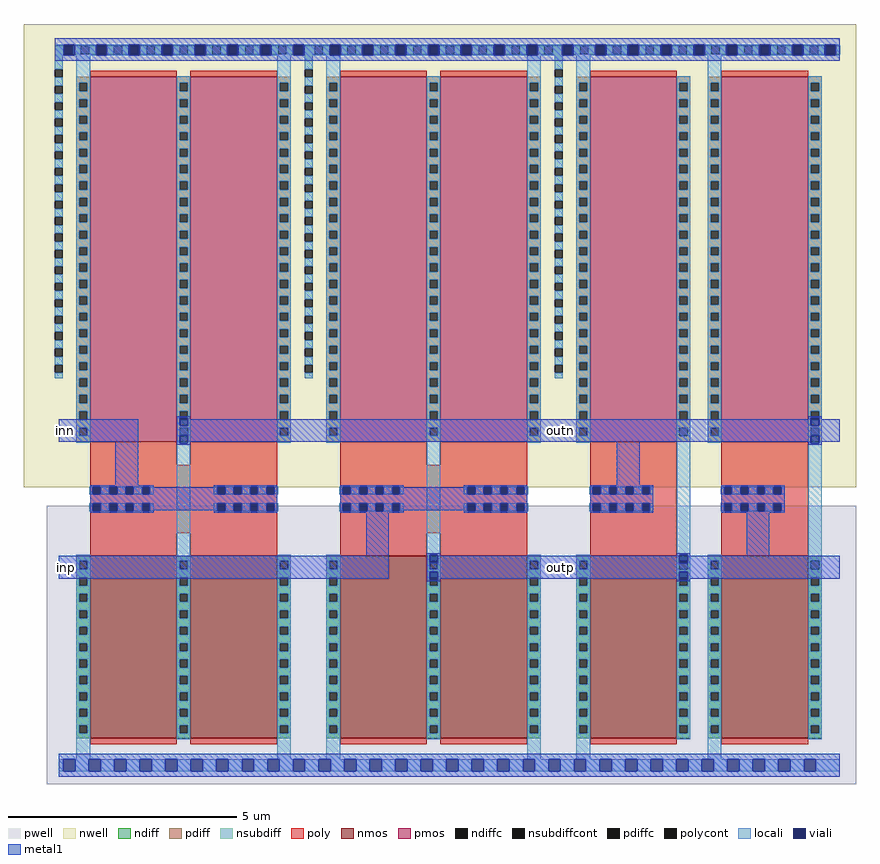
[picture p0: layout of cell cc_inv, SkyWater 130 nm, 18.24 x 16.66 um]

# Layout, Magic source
magic
tech sky130A
<< poly >>
rect 69 636 479 684
rect 69 619 75 636
rect 92 619 111 636
rect 128 619 147 636
rect 164 619 183 636
rect 200 619 348 636
rect 365 619 384 636
rect 401 619 420 636
rect 437 619 456 636
rect 473 619 479 636
rect 69 599 479 619
rect 69 582 75 599
rect 92 582 111 599
rect 128 582 147 599
rect 164 582 183 599
rect 200 582 348 599
rect 365 582 384 599
rect 401 582 420 599
rect 437 582 456 599
rect 473 582 479 599
rect 69 534 479 582
rect 617 636 1027 684
rect 617 619 623 636
rect 640 619 659 636
rect 676 619 695 636
rect 712 619 731 636
rect 748 619 896 636
rect 913 619 932 636
rect 949 619 968 636
rect 985 619 1004 636
rect 1021 619 1027 636
rect 617 599 1027 619
rect 617 582 623 599
rect 640 582 659 599
rect 676 582 695 599
rect 712 582 731 599
rect 748 582 896 599
rect 913 582 932 599
rect 949 582 968 599
rect 985 582 1004 599
rect 1021 582 1027 599
rect 617 534 1027 582
rect 1165 636 1355 686
rect 1165 619 1171 636
rect 1188 619 1207 636
rect 1224 619 1243 636
rect 1260 619 1279 636
rect 1296 619 1355 636
rect 1165 599 1355 619
rect 1165 582 1171 599
rect 1188 582 1207 599
rect 1224 582 1243 599
rect 1260 582 1279 599
rect 1296 582 1355 599
rect 1165 528 1355 582
rect 1453 636 1643 686
rect 1453 619 1459 636
rect 1476 619 1495 636
rect 1512 619 1531 636
rect 1548 619 1567 636
rect 1584 619 1643 636
rect 1453 599 1643 619
rect 1453 582 1459 599
rect 1476 582 1495 599
rect 1512 582 1531 599
rect 1548 582 1567 599
rect 1584 582 1643 599
rect 1453 528 1643 582
<< polycont >>
rect 75 619 92 636
rect 111 619 128 636
rect 147 619 164 636
rect 183 619 200 636
rect 348 619 365 636
rect 384 619 401 636
rect 420 619 437 636
rect 456 619 473 636
rect 75 582 92 599
rect 111 582 128 599
rect 147 582 164 599
rect 183 582 200 599
rect 348 582 365 599
rect 384 582 401 599
rect 420 582 437 599
rect 456 582 473 599
rect 623 619 640 636
rect 659 619 676 636
rect 695 619 712 636
rect 731 619 748 636
rect 896 619 913 636
rect 932 619 949 636
rect 968 619 985 636
rect 1004 619 1021 636
rect 623 582 640 599
rect 659 582 676 599
rect 695 582 712 599
rect 731 582 748 599
rect 896 582 913 599
rect 932 582 949 599
rect 968 582 985 599
rect 1004 582 1021 599
rect 1171 619 1188 636
rect 1207 619 1224 636
rect 1243 619 1260 636
rect 1279 619 1296 636
rect 1171 582 1188 599
rect 1207 582 1224 599
rect 1243 582 1260 599
rect 1279 582 1296 599
rect 1459 619 1476 636
rect 1495 619 1512 636
rect 1531 619 1548 636
rect 1567 619 1584 636
rect 1459 582 1476 599
rect 1495 582 1512 599
rect 1531 582 1548 599
rect 1567 582 1584 599
<< locali >>
rect -9 1581 11 1605
rect 35 1581 82 1605
rect 106 1581 154 1605
rect 178 1581 226 1605
rect 250 1581 298 1605
rect 322 1581 370 1605
rect 394 1581 442 1605
rect 466 1581 514 1605
rect 538 1581 594 1605
rect 618 1581 666 1605
rect 690 1581 738 1605
rect 762 1581 810 1605
rect 834 1581 882 1605
rect 906 1581 954 1605
rect 978 1581 1026 1605
rect 1050 1581 1104 1605
rect 1128 1581 1176 1605
rect 1200 1581 1248 1605
rect 1272 1581 1320 1605
rect 1344 1581 1392 1605
rect 1416 1581 1464 1605
rect 1488 1581 1536 1605
rect 1560 1581 1608 1605
rect 1632 1581 1679 1605
rect 1703 1581 1712 1605
rect 259 749 289 769
rect 259 731 265 749
rect 283 731 289 749
rect 67 619 75 636
rect 92 619 111 636
rect 128 619 147 636
rect 164 619 183 636
rect 200 619 208 636
rect 67 582 75 599
rect 92 582 111 599
rect 128 582 147 599
rect 164 582 183 599
rect 200 582 208 599
rect 259 480 289 731
rect 340 619 348 636
rect 365 619 384 636
rect 401 619 420 636
rect 437 619 456 636
rect 473 619 481 636
rect 615 619 623 636
rect 640 619 659 636
rect 676 619 695 636
rect 712 619 731 636
rect 748 619 756 636
rect 340 582 348 599
rect 365 582 384 599
rect 401 582 420 599
rect 437 582 456 599
rect 473 582 481 599
rect 615 582 623 599
rect 640 582 659 599
rect 676 582 695 599
rect 712 582 731 599
rect 748 582 756 599
rect 807 487 837 733
rect 888 619 896 636
rect 913 619 932 636
rect 949 619 968 636
rect 985 619 1004 636
rect 1021 619 1029 636
rect 1163 619 1171 636
rect 1188 619 1207 636
rect 1224 619 1243 636
rect 1260 619 1279 636
rect 1296 619 1304 636
rect 888 582 896 599
rect 913 582 932 599
rect 949 582 968 599
rect 985 582 1004 599
rect 1021 582 1029 599
rect 1163 582 1171 599
rect 1188 582 1207 599
rect 1224 582 1243 599
rect 1260 582 1279 599
rect 1296 582 1304 599
rect 807 469 813 487
rect 831 469 837 487
rect 1355 486 1385 777
rect 1643 769 1649 786
rect 1667 769 1673 786
rect 1643 749 1673 769
rect 1643 731 1649 749
rect 1667 731 1673 749
rect 1451 619 1459 636
rect 1476 619 1495 636
rect 1512 619 1531 636
rect 1548 619 1567 636
rect 1584 619 1592 636
rect 1451 582 1459 599
rect 1476 582 1495 599
rect 1512 582 1531 599
rect 1548 582 1567 599
rect 1584 582 1592 599
rect 1355 468 1361 486
rect 1379 468 1385 486
rect 1355 449 1385 468
rect 807 432 813 449
rect 831 432 837 449
rect 1355 432 1361 449
rect 1379 432 1385 449
rect 1643 435 1673 731
rect 39 38 69 82
rect 479 38 509 82
rect 587 38 617 82
rect 1027 38 1057 82
rect 1135 38 1165 82
rect 1423 38 1453 82
rect 0 12 10 38
rect 36 12 66 38
rect 92 12 122 38
rect 148 12 178 38
rect 204 12 234 38
rect 260 12 290 38
rect 316 12 346 38
rect 372 12 402 38
rect 428 12 458 38
rect 484 12 514 38
rect 540 12 570 38
rect 596 12 626 38
rect 652 12 682 38
rect 708 12 738 38
rect 764 12 794 38
rect 820 12 850 38
rect 876 12 906 38
rect 932 12 962 38
rect 988 12 1018 38
rect 1044 12 1074 38
rect 1100 12 1130 38
rect 1156 12 1186 38
rect 1212 12 1242 38
rect 1268 12 1298 38
rect 1324 12 1354 38
rect 1380 12 1410 38
rect 1436 12 1466 38
rect 1492 12 1522 38
rect 1548 12 1578 38
rect 1604 12 1634 38
rect 1660 12 1712 38
<< viali >>
rect 11 1581 35 1605
rect 82 1581 106 1605
rect 154 1581 178 1605
rect 226 1581 250 1605
rect 298 1581 322 1605
rect 370 1581 394 1605
rect 442 1581 466 1605
rect 514 1581 538 1605
rect 594 1581 618 1605
rect 666 1581 690 1605
rect 738 1581 762 1605
rect 810 1581 834 1605
rect 882 1581 906 1605
rect 954 1581 978 1605
rect 1026 1581 1050 1605
rect 1104 1581 1128 1605
rect 1176 1581 1200 1605
rect 1248 1581 1272 1605
rect 1320 1581 1344 1605
rect 1392 1581 1416 1605
rect 1464 1581 1488 1605
rect 1536 1581 1560 1605
rect 1608 1581 1632 1605
rect 1679 1581 1703 1605
rect 265 769 283 787
rect 265 731 283 749
rect 75 619 92 636
rect 111 619 128 636
rect 147 619 164 636
rect 183 619 200 636
rect 75 582 92 599
rect 111 582 128 599
rect 147 582 164 599
rect 183 582 200 599
rect 348 619 365 636
rect 384 619 401 636
rect 420 619 437 636
rect 456 619 473 636
rect 623 619 640 636
rect 659 619 676 636
rect 695 619 712 636
rect 731 619 748 636
rect 348 582 365 599
rect 384 582 401 599
rect 420 582 437 599
rect 456 582 473 599
rect 623 582 640 599
rect 659 582 676 599
rect 695 582 712 599
rect 731 582 748 599
rect 896 619 913 636
rect 932 619 949 636
rect 968 619 985 636
rect 1004 619 1021 636
rect 1171 619 1188 636
rect 1207 619 1224 636
rect 1243 619 1260 636
rect 1279 619 1296 636
rect 896 582 913 599
rect 932 582 949 599
rect 968 582 985 599
rect 1004 582 1021 599
rect 1171 582 1188 599
rect 1207 582 1224 599
rect 1243 582 1260 599
rect 1279 582 1296 599
rect 813 469 831 487
rect 1649 769 1667 787
rect 1649 731 1667 749
rect 1459 619 1476 636
rect 1495 619 1512 636
rect 1531 619 1548 636
rect 1567 619 1584 636
rect 1459 582 1476 599
rect 1495 582 1512 599
rect 1531 582 1548 599
rect 1567 582 1584 599
rect 1361 468 1379 486
rect 813 431 831 449
rect 1361 431 1379 449
rect 10 12 36 38
rect 66 12 92 38
rect 122 12 148 38
rect 178 12 204 38
rect 234 12 260 38
rect 290 12 316 38
rect 346 12 372 38
rect 402 12 428 38
rect 458 12 484 38
rect 514 12 540 38
rect 570 12 596 38
rect 626 12 652 38
rect 682 12 708 38
rect 738 12 764 38
rect 794 12 820 38
rect 850 12 876 38
rect 906 12 932 38
rect 962 12 988 38
rect 1018 12 1044 38
rect 1074 12 1100 38
rect 1130 12 1156 38
rect 1186 12 1212 38
rect 1242 12 1268 38
rect 1298 12 1324 38
rect 1354 12 1380 38
rect 1410 12 1436 38
rect 1466 12 1492 38
rect 1522 12 1548 38
rect 1578 12 1604 38
rect 1634 12 1660 38
<< metal1 >>
rect -9 1605 1712 1619
rect -9 1581 11 1605
rect 35 1581 82 1605
rect 106 1581 154 1605
rect 178 1581 226 1605
rect 250 1581 298 1605
rect 322 1581 370 1605
rect 394 1581 442 1605
rect 466 1581 514 1605
rect 538 1581 594 1605
rect 618 1581 666 1605
rect 690 1581 738 1605
rect 762 1581 810 1605
rect 834 1581 882 1605
rect 906 1581 954 1605
rect 978 1581 1026 1605
rect 1050 1581 1104 1605
rect 1128 1581 1176 1605
rect 1200 1581 1248 1605
rect 1272 1581 1320 1605
rect 1344 1581 1392 1605
rect 1416 1581 1464 1605
rect 1488 1581 1536 1605
rect 1560 1581 1608 1605
rect 1632 1581 1679 1605
rect 1703 1581 1712 1605
rect -9 1569 1712 1581
rect 259 787 289 790
rect 0 734 174 784
rect 124 639 174 734
rect 259 769 265 787
rect 283 784 289 787
rect 1643 787 1673 790
rect 1643 784 1649 787
rect 283 769 1649 784
rect 1667 784 1673 787
rect 1667 769 1712 784
rect 259 749 1712 769
rect 259 731 265 749
rect 283 734 1649 749
rect 283 731 289 734
rect 259 728 289 731
rect 1224 639 1274 734
rect 1643 731 1649 734
rect 1667 734 1712 749
rect 1667 731 1673 734
rect 1643 728 1673 731
rect 69 636 208 639
rect 69 619 75 636
rect 92 619 111 636
rect 128 619 147 636
rect 164 619 183 636
rect 200 634 208 636
rect 340 636 479 639
rect 340 634 348 636
rect 200 619 348 634
rect 365 619 384 636
rect 401 619 420 636
rect 437 619 456 636
rect 473 619 479 636
rect 69 599 479 619
rect 69 582 75 599
rect 92 582 111 599
rect 128 582 147 599
rect 164 582 183 599
rect 200 584 348 599
rect 200 582 208 584
rect 69 579 208 582
rect 340 582 348 584
rect 365 582 384 599
rect 401 582 420 599
rect 437 582 456 599
rect 473 582 479 599
rect 340 579 479 582
rect 617 636 756 639
rect 617 619 623 636
rect 640 619 659 636
rect 676 619 695 636
rect 712 619 731 636
rect 748 634 756 636
rect 888 636 1027 639
rect 888 634 896 636
rect 748 619 896 634
rect 913 619 932 636
rect 949 619 968 636
rect 985 619 1004 636
rect 1021 619 1027 636
rect 617 599 1027 619
rect 617 582 623 599
rect 640 582 659 599
rect 676 582 695 599
rect 712 582 731 599
rect 748 584 896 599
rect 748 582 756 584
rect 617 579 756 582
rect 888 582 896 584
rect 913 582 932 599
rect 949 582 968 599
rect 985 582 1004 599
rect 1021 582 1027 599
rect 888 579 1027 582
rect 1165 636 1304 639
rect 1165 619 1171 636
rect 1188 619 1207 636
rect 1224 619 1243 636
rect 1260 619 1279 636
rect 1296 619 1304 636
rect 1165 599 1304 619
rect 1165 582 1171 599
rect 1188 582 1207 599
rect 1224 582 1243 599
rect 1260 582 1279 599
rect 1296 582 1304 599
rect 1165 579 1304 582
rect 1453 636 1592 639
rect 1453 619 1459 636
rect 1476 619 1495 636
rect 1512 619 1531 636
rect 1548 619 1567 636
rect 1584 619 1592 636
rect 1453 599 1592 619
rect 1453 582 1459 599
rect 1476 582 1495 599
rect 1512 582 1531 599
rect 1548 582 1567 599
rect 1584 582 1592 599
rect 1453 579 1592 582
rect 674 484 724 579
rect 0 434 724 484
rect 807 487 837 490
rect 807 469 813 487
rect 831 484 837 487
rect 1355 486 1385 490
rect 1355 484 1361 486
rect 831 469 1361 484
rect 807 468 1361 469
rect 1379 484 1385 486
rect 1508 484 1558 579
rect 1379 468 1712 484
rect 807 449 1712 468
rect 807 431 813 449
rect 831 434 1361 449
rect 831 431 837 434
rect 807 428 837 431
rect 1355 431 1361 434
rect 1379 434 1712 449
rect 1379 431 1385 434
rect 1355 428 1385 431
rect 0 38 1712 50
rect 0 12 10 38
rect 36 12 66 38
rect 92 12 122 38
rect 148 12 178 38
rect 204 12 234 38
rect 260 12 290 38
rect 316 12 346 38
rect 372 12 402 38
rect 428 12 458 38
rect 484 12 514 38
rect 540 12 570 38
rect 596 12 626 38
rect 652 12 682 38
rect 708 12 738 38
rect 764 12 794 38
rect 820 12 850 38
rect 876 12 906 38
rect 932 12 962 38
rect 988 12 1018 38
rect 1044 12 1074 38
rect 1100 12 1130 38
rect 1156 12 1186 38
rect 1212 12 1242 38
rect 1268 12 1298 38
rect 1324 12 1354 38
rect 1380 12 1410 38
rect 1436 12 1466 38
rect 1492 12 1522 38
rect 1548 12 1578 38
rect 1604 12 1634 38
rect 1660 12 1712 38
rect 0 0 1712 12
use nfet_12  nfet_12_0
transform 1 0 -26 0 1 -16
box 0 0 600 610
use nfet_12  nfet_12_1
transform 1 0 522 0 1 -16
box 0 0 600 610
use pfet_12  pfet_12_0
transform 1 0 -76 0 1 634
box 0 0 700 1016
use nfet_34  nfet_34_0
transform 1 0 1060 0 1 -16
box 0 0 400 610
use nfet_34  nfet_34_1
transform 1 0 1348 0 1 -16
box 0 0 400 610
use pfet_34  pfet_34_0
transform 1 0 1060 0 1 634
box 0 0 400 1016
use pfet_34  pfet_34_1
transform 1 0 1348 0 1 634
box 0 0 400 1016
use pfet_12  pfet_12_1
transform 1 0 472 0 1 634
box 0 0 700 1016
<< labels >>
flabel metal1 16 760 16 760 1 FreeSans 240 0 0 0 inn
flabel metal1 18 459 18 459 1 FreeSans 240 0 0 0 inp
flabel metal1 1100 760 1100 760 1 FreeSans 240 0 0 0 outn
flabel metal1 1100 459 1100 459 1 FreeSans 240 0 0 0 outp
<< end >>

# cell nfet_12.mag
magic
tech sky130A
<< pwell >>
rect 0 0 600 610
<< nmos >>
rect 95 100 285 500
rect 315 100 505 500
<< ndiff >>
rect 65 489 95 500
rect 65 471 71 489
rect 89 471 95 489
rect 65 453 95 471
rect 65 435 71 453
rect 89 435 95 453
rect 65 417 95 435
rect 65 399 71 417
rect 89 399 95 417
rect 65 381 95 399
rect 65 363 71 381
rect 89 363 95 381
rect 65 345 95 363
rect 65 327 71 345
rect 89 327 95 345
rect 65 309 95 327
rect 65 291 71 309
rect 89 291 95 309
rect 65 273 95 291
rect 65 255 71 273
rect 89 255 95 273
rect 65 237 95 255
rect 65 219 71 237
rect 89 219 95 237
rect 65 201 95 219
rect 65 183 71 201
rect 89 183 95 201
rect 65 165 95 183
rect 65 147 71 165
rect 89 147 95 165
rect 65 129 95 147
rect 65 111 71 129
rect 89 111 95 129
rect 65 100 95 111
rect 285 489 315 500
rect 285 471 291 489
rect 309 471 315 489
rect 285 453 315 471
rect 285 435 291 453
rect 309 435 315 453
rect 285 417 315 435
rect 285 399 291 417
rect 309 399 315 417
rect 285 381 315 399
rect 285 363 291 381
rect 309 363 315 381
rect 285 345 315 363
rect 285 327 291 345
rect 309 327 315 345
rect 285 309 315 327
rect 285 291 291 309
rect 309 291 315 309
rect 285 273 315 291
rect 285 255 291 273
rect 309 255 315 273
rect 285 237 315 255
rect 285 219 291 237
rect 309 219 315 237
rect 285 201 315 219
rect 285 183 291 201
rect 309 183 315 201
rect 285 165 315 183
rect 285 147 291 165
rect 309 147 315 165
rect 285 129 315 147
rect 285 111 291 129
rect 309 111 315 129
rect 285 100 315 111
rect 505 489 535 500
rect 505 471 511 489
rect 529 471 535 489
rect 505 453 535 471
rect 505 435 511 453
rect 529 435 535 453
rect 505 417 535 435
rect 505 399 511 417
rect 529 399 535 417
rect 505 381 535 399
rect 505 363 511 381
rect 529 363 535 381
rect 505 345 535 363
rect 505 327 511 345
rect 529 327 535 345
rect 505 309 535 327
rect 505 291 511 309
rect 529 291 535 309
rect 505 273 535 291
rect 505 255 511 273
rect 529 255 535 273
rect 505 237 535 255
rect 505 219 511 237
rect 529 219 535 237
rect 505 201 535 219
rect 505 183 511 201
rect 529 183 535 201
rect 505 165 535 183
rect 505 147 511 165
rect 529 147 535 165
rect 505 129 535 147
rect 505 111 511 129
rect 529 111 535 129
rect 505 100 535 111
<< ndiffc >>
rect 71 471 89 489
rect 71 435 89 453
rect 71 399 89 417
rect 71 363 89 381
rect 71 327 89 345
rect 71 291 89 309
rect 71 255 89 273
rect 71 219 89 237
rect 71 183 89 201
rect 71 147 89 165
rect 71 111 89 129
rect 291 471 309 489
rect 291 435 309 453
rect 291 399 309 417
rect 291 363 309 381
rect 291 327 309 345
rect 291 291 309 309
rect 291 255 309 273
rect 291 219 309 237
rect 291 183 309 201
rect 291 147 309 165
rect 291 111 309 129
rect 511 471 529 489
rect 511 435 529 453
rect 511 399 529 417
rect 511 363 529 381
rect 511 327 529 345
rect 511 291 529 309
rect 511 255 529 273
rect 511 219 529 237
rect 511 183 529 201
rect 511 147 529 165
rect 511 111 529 129
<< poly >>
rect 95 500 285 550
rect 315 500 505 550
rect 95 87 285 100
rect 315 87 505 100
<< locali >>
rect 65 489 95 502
rect 65 471 71 489
rect 89 471 95 489
rect 65 453 95 471
rect 65 435 71 453
rect 89 435 95 453
rect 65 417 95 435
rect 65 399 71 417
rect 89 399 95 417
rect 65 381 95 399
rect 65 363 71 381
rect 89 363 95 381
rect 65 345 95 363
rect 65 327 71 345
rect 89 327 95 345
rect 65 309 95 327
rect 65 291 71 309
rect 89 291 95 309
rect 65 273 95 291
rect 65 255 71 273
rect 89 255 95 273
rect 65 237 95 255
rect 65 219 71 237
rect 89 219 95 237
rect 65 201 95 219
rect 65 183 71 201
rect 89 183 95 201
rect 65 165 95 183
rect 65 147 71 165
rect 89 147 95 165
rect 65 129 95 147
rect 65 111 71 129
rect 89 111 95 129
rect 65 98 95 111
rect 285 489 315 502
rect 285 471 291 489
rect 309 471 315 489
rect 285 453 315 471
rect 285 435 291 453
rect 309 435 315 453
rect 285 417 315 435
rect 285 399 291 417
rect 309 399 315 417
rect 285 381 315 399
rect 285 363 291 381
rect 309 363 315 381
rect 285 345 315 363
rect 285 327 291 345
rect 309 327 315 345
rect 285 309 315 327
rect 285 291 291 309
rect 309 291 315 309
rect 285 273 315 291
rect 285 255 291 273
rect 309 255 315 273
rect 285 237 315 255
rect 285 219 291 237
rect 309 219 315 237
rect 285 201 315 219
rect 285 183 291 201
rect 309 183 315 201
rect 285 165 315 183
rect 285 147 291 165
rect 309 147 315 165
rect 285 129 315 147
rect 285 111 291 129
rect 309 111 315 129
rect 285 98 315 111
rect 505 489 535 502
rect 505 471 511 489
rect 529 471 535 489
rect 505 453 535 471
rect 505 435 511 453
rect 529 435 535 453
rect 505 417 535 435
rect 505 399 511 417
rect 529 399 535 417
rect 505 381 535 399
rect 505 363 511 381
rect 529 363 535 381
rect 505 345 535 363
rect 505 327 511 345
rect 529 327 535 345
rect 505 309 535 327
rect 505 291 511 309
rect 529 291 535 309
rect 505 273 535 291
rect 505 255 511 273
rect 529 255 535 273
rect 505 237 535 255
rect 505 219 511 237
rect 529 219 535 237
rect 505 201 535 219
rect 505 183 511 201
rect 529 183 535 201
rect 505 165 535 183
rect 505 147 511 165
rect 529 147 535 165
rect 505 129 535 147
rect 505 111 511 129
rect 529 111 535 129
rect 505 98 535 111
<< end >>

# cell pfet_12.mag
magic
tech sky130A
<< nwell >>
rect 0 0 700 1016
<< pmos >>
rect 145 100 335 900
rect 365 100 555 900
<< pdiff >>
rect 115 887 145 900
rect 115 869 121 887
rect 139 869 145 887
rect 115 851 145 869
rect 115 833 121 851
rect 139 833 145 851
rect 115 815 145 833
rect 115 797 121 815
rect 139 797 145 815
rect 115 779 145 797
rect 115 761 121 779
rect 139 761 145 779
rect 115 743 145 761
rect 115 725 121 743
rect 139 725 145 743
rect 115 707 145 725
rect 115 689 121 707
rect 139 689 145 707
rect 115 671 145 689
rect 115 653 121 671
rect 139 653 145 671
rect 115 635 145 653
rect 115 617 121 635
rect 139 617 145 635
rect 115 599 145 617
rect 115 581 121 599
rect 139 581 145 599
rect 115 563 145 581
rect 115 545 121 563
rect 139 545 145 563
rect 115 527 145 545
rect 115 509 121 527
rect 139 509 145 527
rect 115 491 145 509
rect 115 473 121 491
rect 139 473 145 491
rect 115 455 145 473
rect 115 437 121 455
rect 139 437 145 455
rect 115 419 145 437
rect 115 401 121 419
rect 139 401 145 419
rect 115 383 145 401
rect 115 365 121 383
rect 139 365 145 383
rect 115 347 145 365
rect 115 329 121 347
rect 139 329 145 347
rect 115 311 145 329
rect 115 293 121 311
rect 139 293 145 311
rect 115 275 145 293
rect 115 257 121 275
rect 139 257 145 275
rect 115 239 145 257
rect 115 221 121 239
rect 139 221 145 239
rect 115 203 145 221
rect 115 185 121 203
rect 139 185 145 203
rect 115 167 145 185
rect 115 149 121 167
rect 139 149 145 167
rect 115 131 145 149
rect 115 113 121 131
rect 139 113 145 131
rect 115 100 145 113
rect 335 887 365 900
rect 335 869 341 887
rect 359 869 365 887
rect 335 851 365 869
rect 335 833 341 851
rect 359 833 365 851
rect 335 815 365 833
rect 335 797 341 815
rect 359 797 365 815
rect 335 779 365 797
rect 335 761 341 779
rect 359 761 365 779
rect 335 743 365 761
rect 335 725 341 743
rect 359 725 365 743
rect 335 707 365 725
rect 335 689 341 707
rect 359 689 365 707
rect 335 671 365 689
rect 335 653 341 671
rect 359 653 365 671
rect 335 635 365 653
rect 335 617 341 635
rect 359 617 365 635
rect 335 599 365 617
rect 335 581 341 599
rect 359 581 365 599
rect 335 563 365 581
rect 335 545 341 563
rect 359 545 365 563
rect 335 527 365 545
rect 335 509 341 527
rect 359 509 365 527
rect 335 491 365 509
rect 335 473 341 491
rect 359 473 365 491
rect 335 455 365 473
rect 335 437 341 455
rect 359 437 365 455
rect 335 419 365 437
rect 335 401 341 419
rect 359 401 365 419
rect 335 383 365 401
rect 335 365 341 383
rect 359 365 365 383
rect 335 347 365 365
rect 335 329 341 347
rect 359 329 365 347
rect 335 311 365 329
rect 335 293 341 311
rect 359 293 365 311
rect 335 275 365 293
rect 335 257 341 275
rect 359 257 365 275
rect 335 239 365 257
rect 335 221 341 239
rect 359 221 365 239
rect 335 203 365 221
rect 335 185 341 203
rect 359 185 365 203
rect 335 167 365 185
rect 335 149 341 167
rect 359 149 365 167
rect 335 131 365 149
rect 335 113 341 131
rect 359 113 365 131
rect 335 100 365 113
rect 555 887 585 900
rect 555 869 561 887
rect 579 869 585 887
rect 555 851 585 869
rect 555 833 561 851
rect 579 833 585 851
rect 555 815 585 833
rect 555 797 561 815
rect 579 797 585 815
rect 555 779 585 797
rect 555 761 561 779
rect 579 761 585 779
rect 555 743 585 761
rect 555 725 561 743
rect 579 725 585 743
rect 555 707 585 725
rect 555 689 561 707
rect 579 689 585 707
rect 555 671 585 689
rect 555 653 561 671
rect 579 653 585 671
rect 555 635 585 653
rect 555 617 561 635
rect 579 617 585 635
rect 555 599 585 617
rect 555 581 561 599
rect 579 581 585 599
rect 555 563 585 581
rect 555 545 561 563
rect 579 545 585 563
rect 555 527 585 545
rect 555 509 561 527
rect 579 509 585 527
rect 555 491 585 509
rect 555 473 561 491
rect 579 473 585 491
rect 555 455 585 473
rect 555 437 561 455
rect 579 437 585 455
rect 555 419 585 437
rect 555 401 561 419
rect 579 401 585 419
rect 555 383 585 401
rect 555 365 561 383
rect 579 365 585 383
rect 555 347 585 365
rect 555 329 561 347
rect 579 329 585 347
rect 555 311 585 329
rect 555 293 561 311
rect 579 293 585 311
rect 555 275 585 293
rect 555 257 561 275
rect 579 257 585 275
rect 555 239 585 257
rect 555 221 561 239
rect 579 221 585 239
rect 555 203 585 221
rect 555 185 561 203
rect 579 185 585 203
rect 555 167 585 185
rect 555 149 561 167
rect 579 149 585 167
rect 555 131 585 149
rect 555 113 561 131
rect 579 113 585 131
rect 555 100 585 113
<< pdiffc >>
rect 121 869 139 887
rect 121 833 139 851
rect 121 797 139 815
rect 121 761 139 779
rect 121 725 139 743
rect 121 689 139 707
rect 121 653 139 671
rect 121 617 139 635
rect 121 581 139 599
rect 121 545 139 563
rect 121 509 139 527
rect 121 473 139 491
rect 121 437 139 455
rect 121 401 139 419
rect 121 365 139 383
rect 121 329 139 347
rect 121 293 139 311
rect 121 257 139 275
rect 121 221 139 239
rect 121 185 139 203
rect 121 149 139 167
rect 121 113 139 131
rect 341 869 359 887
rect 341 833 359 851
rect 341 797 359 815
rect 341 761 359 779
rect 341 725 359 743
rect 341 689 359 707
rect 341 653 359 671
rect 341 617 359 635
rect 341 581 359 599
rect 341 545 359 563
rect 341 509 359 527
rect 341 473 359 491
rect 341 437 359 455
rect 341 401 359 419
rect 341 365 359 383
rect 341 329 359 347
rect 341 293 359 311
rect 341 257 359 275
rect 341 221 359 239
rect 341 185 359 203
rect 341 149 359 167
rect 341 113 359 131
rect 561 869 579 887
rect 561 833 579 851
rect 561 797 579 815
rect 561 761 579 779
rect 561 725 579 743
rect 561 689 579 707
rect 561 653 579 671
rect 561 617 579 635
rect 561 581 579 599
rect 561 545 579 563
rect 561 509 579 527
rect 561 473 579 491
rect 561 437 579 455
rect 561 401 579 419
rect 561 365 579 383
rect 561 329 579 347
rect 561 293 579 311
rect 561 257 579 275
rect 561 221 579 239
rect 561 185 579 203
rect 561 149 579 167
rect 561 113 579 131
<< nsubdiff >>
rect 67 950 89 968
rect 107 950 125 968
rect 143 950 161 968
rect 179 950 197 968
rect 215 950 233 968
rect 251 950 269 968
rect 287 950 305 968
rect 323 950 341 968
rect 359 950 377 968
rect 395 950 413 968
rect 431 950 449 968
rect 467 950 485 968
rect 503 950 521 968
rect 539 950 557 968
rect 575 950 593 968
rect 611 950 633 968
rect 67 917 85 950
rect 615 917 633 950
rect 67 881 85 899
rect 67 845 85 863
rect 67 809 85 827
rect 67 773 85 791
rect 67 737 85 755
rect 67 701 85 719
rect 67 665 85 683
rect 67 629 85 647
rect 67 593 85 611
rect 67 557 85 575
rect 67 521 85 539
rect 67 485 85 503
rect 67 449 85 467
rect 67 413 85 431
rect 67 377 85 395
rect 67 341 85 359
rect 67 305 85 323
rect 67 269 85 287
rect 67 239 85 251
rect 615 881 633 899
rect 615 845 633 863
rect 615 809 633 827
rect 615 773 633 791
rect 615 737 633 755
rect 615 701 633 719
rect 615 665 633 683
rect 615 629 633 647
rect 615 593 633 611
rect 615 557 633 575
rect 615 521 633 539
rect 615 485 633 503
rect 615 449 633 467
rect 615 413 633 431
rect 615 377 633 395
rect 615 341 633 359
rect 615 305 633 323
rect 615 269 633 287
rect 615 239 633 251
<< nsubdiffcont >>
rect 89 950 107 968
rect 125 950 143 968
rect 161 950 179 968
rect 197 950 215 968
rect 233 950 251 968
rect 269 950 287 968
rect 305 950 323 968
rect 341 950 359 968
rect 377 950 395 968
rect 413 950 431 968
rect 449 950 467 968
rect 485 950 503 968
rect 521 950 539 968
rect 557 950 575 968
rect 593 950 611 968
rect 67 899 85 917
rect 67 863 85 881
rect 67 827 85 845
rect 67 791 85 809
rect 67 755 85 773
rect 67 719 85 737
rect 67 683 85 701
rect 67 647 85 665
rect 67 611 85 629
rect 67 575 85 593
rect 67 539 85 557
rect 67 503 85 521
rect 67 467 85 485
rect 67 431 85 449
rect 67 395 85 413
rect 67 359 85 377
rect 67 323 85 341
rect 67 287 85 305
rect 67 251 85 269
rect 615 899 633 917
rect 615 863 633 881
rect 615 827 633 845
rect 615 791 633 809
rect 615 755 633 773
rect 615 719 633 737
rect 615 683 633 701
rect 615 647 633 665
rect 615 611 633 629
rect 615 575 633 593
rect 615 539 633 557
rect 615 503 633 521
rect 615 467 633 485
rect 615 431 633 449
rect 615 395 633 413
rect 615 359 633 377
rect 615 323 633 341
rect 615 287 633 305
rect 615 251 633 269
<< poly >>
rect 145 900 335 913
rect 365 900 555 913
rect 145 50 335 100
rect 365 50 555 100
<< locali >>
rect 67 950 89 968
rect 107 950 125 968
rect 143 950 161 968
rect 179 950 197 968
rect 215 950 233 968
rect 251 950 269 968
rect 287 950 305 968
rect 323 950 341 968
rect 359 950 377 968
rect 395 950 413 968
rect 431 950 449 968
rect 467 950 485 968
rect 503 950 521 968
rect 539 950 557 968
rect 575 950 593 968
rect 611 950 633 968
rect 67 917 85 950
rect 67 881 85 899
rect 67 845 85 863
rect 67 809 85 827
rect 67 773 85 791
rect 67 737 85 755
rect 67 701 85 719
rect 67 665 85 683
rect 67 629 85 647
rect 67 593 85 611
rect 67 557 85 575
rect 67 521 85 539
rect 67 485 85 503
rect 67 449 85 467
rect 67 413 85 431
rect 67 377 85 395
rect 67 341 85 359
rect 67 305 85 323
rect 67 269 85 287
rect 67 239 85 251
rect 115 887 145 950
rect 115 869 121 887
rect 139 869 145 887
rect 115 851 145 869
rect 115 833 121 851
rect 139 833 145 851
rect 115 815 145 833
rect 115 797 121 815
rect 139 797 145 815
rect 115 779 145 797
rect 115 761 121 779
rect 139 761 145 779
rect 115 743 145 761
rect 115 725 121 743
rect 139 725 145 743
rect 115 707 145 725
rect 115 689 121 707
rect 139 689 145 707
rect 115 671 145 689
rect 115 653 121 671
rect 139 653 145 671
rect 115 635 145 653
rect 115 617 121 635
rect 139 617 145 635
rect 115 599 145 617
rect 115 581 121 599
rect 139 581 145 599
rect 115 563 145 581
rect 115 545 121 563
rect 139 545 145 563
rect 115 527 145 545
rect 115 509 121 527
rect 139 509 145 527
rect 115 491 145 509
rect 115 473 121 491
rect 139 473 145 491
rect 115 455 145 473
rect 115 437 121 455
rect 139 437 145 455
rect 115 419 145 437
rect 115 401 121 419
rect 139 401 145 419
rect 115 383 145 401
rect 115 365 121 383
rect 139 365 145 383
rect 115 347 145 365
rect 115 329 121 347
rect 139 329 145 347
rect 115 311 145 329
rect 115 293 121 311
rect 139 293 145 311
rect 115 275 145 293
rect 115 257 121 275
rect 139 257 145 275
rect 115 239 145 257
rect 115 221 121 239
rect 139 221 145 239
rect 115 203 145 221
rect 115 185 121 203
rect 139 185 145 203
rect 115 167 145 185
rect 115 149 121 167
rect 139 149 145 167
rect 115 131 145 149
rect 115 113 121 131
rect 139 113 145 131
rect 115 98 145 113
rect 335 887 365 902
rect 335 869 341 887
rect 359 869 365 887
rect 335 851 365 869
rect 335 833 341 851
rect 359 833 365 851
rect 335 815 365 833
rect 335 797 341 815
rect 359 797 365 815
rect 335 779 365 797
rect 335 761 341 779
rect 359 761 365 779
rect 335 743 365 761
rect 335 725 341 743
rect 359 725 365 743
rect 335 707 365 725
rect 335 689 341 707
rect 359 689 365 707
rect 335 671 365 689
rect 335 653 341 671
rect 359 653 365 671
rect 335 635 365 653
rect 335 617 341 635
rect 359 617 365 635
rect 335 599 365 617
rect 335 581 341 599
rect 359 581 365 599
rect 335 563 365 581
rect 335 545 341 563
rect 359 545 365 563
rect 335 527 365 545
rect 335 509 341 527
rect 359 509 365 527
rect 335 491 365 509
rect 335 473 341 491
rect 359 473 365 491
rect 335 455 365 473
rect 335 437 341 455
rect 359 437 365 455
rect 335 419 365 437
rect 335 401 341 419
rect 359 401 365 419
rect 335 383 365 401
rect 335 365 341 383
rect 359 365 365 383
rect 335 347 365 365
rect 335 329 341 347
rect 359 329 365 347
rect 335 311 365 329
rect 335 293 341 311
rect 359 293 365 311
rect 335 275 365 293
rect 335 257 341 275
rect 359 257 365 275
rect 335 239 365 257
rect 335 221 341 239
rect 359 221 365 239
rect 335 203 365 221
rect 335 185 341 203
rect 359 185 365 203
rect 335 167 365 185
rect 335 149 341 167
rect 359 149 365 167
rect 335 131 365 149
rect 335 113 341 131
rect 359 113 365 131
rect 335 98 365 113
rect 555 887 585 950
rect 555 869 561 887
rect 579 869 585 887
rect 555 851 585 869
rect 555 833 561 851
rect 579 833 585 851
rect 555 815 585 833
rect 555 797 561 815
rect 579 797 585 815
rect 555 779 585 797
rect 555 761 561 779
rect 579 761 585 779
rect 555 743 585 761
rect 555 725 561 743
rect 579 725 585 743
rect 555 707 585 725
rect 555 689 561 707
rect 579 689 585 707
rect 555 671 585 689
rect 555 653 561 671
rect 579 653 585 671
rect 555 635 585 653
rect 555 617 561 635
rect 579 617 585 635
rect 555 599 585 617
rect 555 581 561 599
rect 579 581 585 599
rect 555 563 585 581
rect 555 545 561 563
rect 579 545 585 563
rect 555 527 585 545
rect 555 509 561 527
rect 579 509 585 527
rect 555 491 585 509
rect 555 473 561 491
rect 579 473 585 491
rect 555 455 585 473
rect 555 437 561 455
rect 579 437 585 455
rect 555 419 585 437
rect 555 401 561 419
rect 579 401 585 419
rect 555 383 585 401
rect 555 365 561 383
rect 579 365 585 383
rect 555 347 585 365
rect 555 329 561 347
rect 579 329 585 347
rect 555 311 585 329
rect 555 293 561 311
rect 579 293 585 311
rect 555 275 585 293
rect 555 257 561 275
rect 579 257 585 275
rect 555 239 585 257
rect 615 917 633 950
rect 615 881 633 899
rect 615 845 633 863
rect 615 809 633 827
rect 615 773 633 791
rect 615 737 633 755
rect 615 701 633 719
rect 615 665 633 683
rect 615 629 633 647
rect 615 593 633 611
rect 615 557 633 575
rect 615 521 633 539
rect 615 485 633 503
rect 615 449 633 467
rect 615 413 633 431
rect 615 377 633 395
rect 615 341 633 359
rect 615 305 633 323
rect 615 269 633 287
rect 615 239 633 251
rect 555 221 561 239
rect 579 221 585 239
rect 555 203 585 221
rect 555 185 561 203
rect 579 185 585 203
rect 555 167 585 185
rect 555 149 561 167
rect 579 149 585 167
rect 555 131 585 149
rect 555 113 561 131
rect 579 113 585 131
rect 555 98 585 113
<< end >>

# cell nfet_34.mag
magic
tech sky130A
<< pwell >>
rect 0 0 400 610
<< nmos >>
rect 105 100 295 500
<< ndiff >>
rect 75 489 105 500
rect 75 471 81 489
rect 99 471 105 489
rect 75 453 105 471
rect 75 435 81 453
rect 99 435 105 453
rect 75 417 105 435
rect 75 399 81 417
rect 99 399 105 417
rect 75 381 105 399
rect 75 363 81 381
rect 99 363 105 381
rect 75 345 105 363
rect 75 327 81 345
rect 99 327 105 345
rect 75 309 105 327
rect 75 291 81 309
rect 99 291 105 309
rect 75 273 105 291
rect 75 255 81 273
rect 99 255 105 273
rect 75 237 105 255
rect 75 219 81 237
rect 99 219 105 237
rect 75 201 105 219
rect 75 183 81 201
rect 99 183 105 201
rect 75 165 105 183
rect 75 147 81 165
rect 99 147 105 165
rect 75 129 105 147
rect 75 111 81 129
rect 99 111 105 129
rect 75 100 105 111
rect 295 489 325 500
rect 295 471 301 489
rect 319 471 325 489
rect 295 453 325 471
rect 295 435 301 453
rect 319 435 325 453
rect 295 417 325 435
rect 295 399 301 417
rect 319 399 325 417
rect 295 381 325 399
rect 295 363 301 381
rect 319 363 325 381
rect 295 345 325 363
rect 295 327 301 345
rect 319 327 325 345
rect 295 309 325 327
rect 295 291 301 309
rect 319 291 325 309
rect 295 273 325 291
rect 295 255 301 273
rect 319 255 325 273
rect 295 237 325 255
rect 295 219 301 237
rect 319 219 325 237
rect 295 201 325 219
rect 295 183 301 201
rect 319 183 325 201
rect 295 165 325 183
rect 295 147 301 165
rect 319 147 325 165
rect 295 129 325 147
rect 295 111 301 129
rect 319 111 325 129
rect 295 100 325 111
<< ndiffc >>
rect 81 471 99 489
rect 81 435 99 453
rect 81 399 99 417
rect 81 363 99 381
rect 81 327 99 345
rect 81 291 99 309
rect 81 255 99 273
rect 81 219 99 237
rect 81 183 99 201
rect 81 147 99 165
rect 81 111 99 129
rect 301 471 319 489
rect 301 435 319 453
rect 301 399 319 417
rect 301 363 319 381
rect 301 327 319 345
rect 301 291 319 309
rect 301 255 319 273
rect 301 219 319 237
rect 301 183 319 201
rect 301 147 319 165
rect 301 111 319 129
<< poly >>
rect 105 500 295 544
rect 105 87 295 100
<< locali >>
rect 75 489 105 502
rect 75 471 81 489
rect 99 471 105 489
rect 75 453 105 471
rect 75 435 81 453
rect 99 435 105 453
rect 75 417 105 435
rect 75 399 81 417
rect 99 399 105 417
rect 75 381 105 399
rect 75 363 81 381
rect 99 363 105 381
rect 75 345 105 363
rect 75 327 81 345
rect 99 327 105 345
rect 75 309 105 327
rect 75 291 81 309
rect 99 291 105 309
rect 75 273 105 291
rect 75 255 81 273
rect 99 255 105 273
rect 75 237 105 255
rect 75 219 81 237
rect 99 219 105 237
rect 75 201 105 219
rect 75 183 81 201
rect 99 183 105 201
rect 75 165 105 183
rect 75 147 81 165
rect 99 147 105 165
rect 75 129 105 147
rect 75 111 81 129
rect 99 111 105 129
rect 75 98 105 111
rect 295 489 325 502
rect 295 471 301 489
rect 319 471 325 489
rect 295 453 325 471
rect 295 435 301 453
rect 319 435 325 453
rect 295 417 325 435
rect 295 399 301 417
rect 319 399 325 417
rect 295 381 325 399
rect 295 363 301 381
rect 319 363 325 381
rect 295 345 325 363
rect 295 327 301 345
rect 319 327 325 345
rect 295 309 325 327
rect 295 291 301 309
rect 319 291 325 309
rect 295 273 325 291
rect 295 255 301 273
rect 319 255 325 273
rect 295 237 325 255
rect 295 219 301 237
rect 319 219 325 237
rect 295 201 325 219
rect 295 183 301 201
rect 319 183 325 201
rect 295 165 325 183
rect 295 147 301 165
rect 319 147 325 165
rect 295 129 325 147
rect 295 111 301 129
rect 319 111 325 129
rect 295 98 325 111
<< end >>

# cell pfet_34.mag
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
